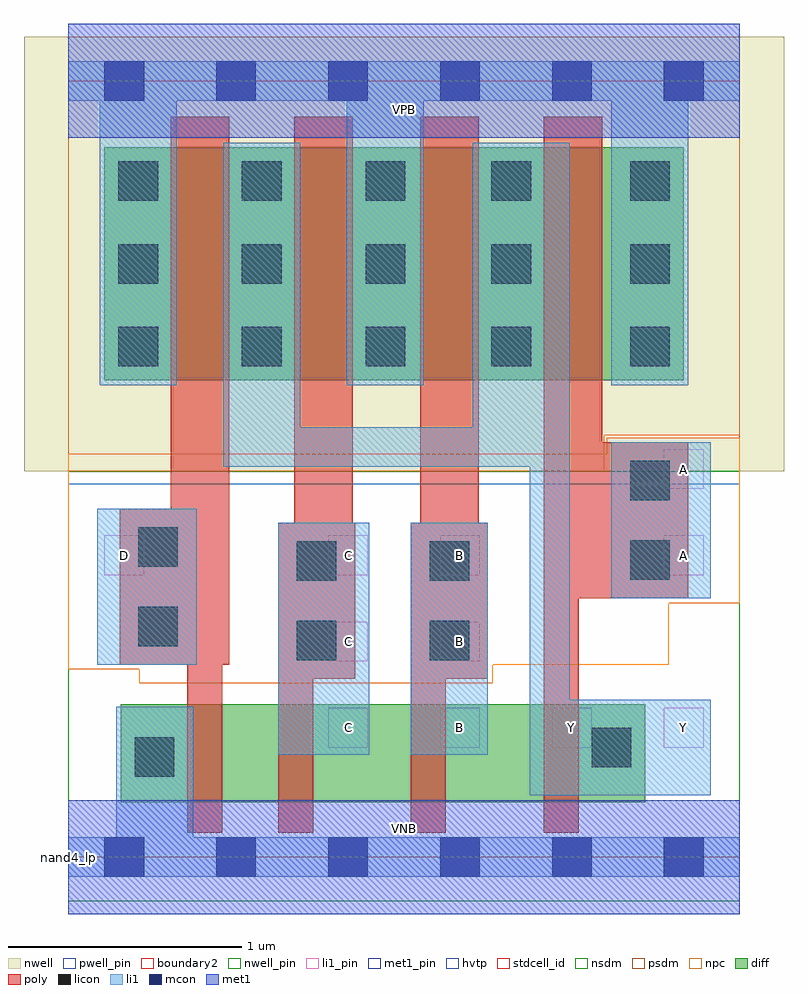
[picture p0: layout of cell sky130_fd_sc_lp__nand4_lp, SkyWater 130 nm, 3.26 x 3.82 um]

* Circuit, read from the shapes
.subckt sky130_fd_sc_lp__nand4_lp A B C D VGND VNB VPB VPWR Y
XM1 n1 D VGND VNB sky130_fd_pr__nfet_01v8 w=0.42 l=0.15
XM2 n2 C n1 VNB sky130_fd_pr__nfet_01v8 w=0.42 l=0.15
XM3 n3 B n2 VNB sky130_fd_pr__nfet_01v8 w=0.42 l=0.15
XM4 Y A n3 VNB sky130_fd_pr__nfet_01v8 w=0.42 l=0.15
XM5 Y D VPWR VPB sky130_fd_pr__pfet_01v8_hvt w=1 l=0.25
XM6 VPWR C Y VPB sky130_fd_pr__pfet_01v8_hvt w=1 l=0.25
XM7 Y B VPWR VPB sky130_fd_pr__pfet_01v8_hvt w=1 l=0.25
XM8 VPWR A Y VPB sky130_fd_pr__pfet_01v8_hvt w=1 l=0.25
.ends

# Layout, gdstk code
import gdstk
lib = gdstk.Library(unit=1e-6, precision=1e-09)
def R(c, l, rs):  # rectangles x0, y0, x1, y1
    for r in rs: c.add(gdstk.rectangle(r[:2], r[2:], *l))
def A(c, l, x, y, w, h, nx, ny, dx, dy):  # array of equal rectangles
    R(c, l, [(x+i*dx, y+j*dy, x+i*dx+w, y+j*dy+h) for i in range(nx) for j in range(ny)])
def P(c, l, *ps):  # polygons
    for p in ps: c.add(gdstk.Polygon(p, *l))
nwell_pin = (64, 16)
nwell = (64, 20)
diff = (65, 20)
poly = (66, 20)
licon = (66, 44)
li1_pin = (67, 16)
li1 = (67, 20)
mcon = (67, 44)
met1_pin = (68, 16)
met1 = (68, 20)
hvtp = (78, 44)
stdcell_id = (81, 4)
nsdm = (93, 44)
psdm = (94, 20)
npc = (95, 20)
pwell_pin = (122, 16)
boundary2 = (236, 0)

sky130_fd_sc_lp__nand4_l = lib.new_cell('sky130_fd_sc_lp__nand4_lp')
R(sky130_fd_sc_lp__nand4_l, nwell_pin, [(0,3.085,2.88,3.33)])
R(sky130_fd_sc_lp__nand4_l, nwell, [(-0.19,1.655,3.07,3.52)])
R(sky130_fd_sc_lp__nand4_l, diff, [(0.225,0.235,2.475,0.655), (0.155,2.045,2.64,3.045)])
P(sky130_fd_sc_lp__nand4_l, poly, [(0.69,3.175),(0.44,3.175),(0.44,1.495),(0.22,1.495),(0.22,0.825),(0.51,0.825),(0.51,0.105),(0.66,0.105),(0.66,0.825),(0.69,0.825)],
  [(1.23,1.435),(1.22,1.435),(1.22,3.175),(0.97,3.175),(0.97,1.435),(0.9,1.435),(0.9,0.105),(1.05,0.105),(1.05,0.765),(1.23,0.765)],
  [(1.8,1.435),(1.76,1.435),(1.76,3.175),(1.51,3.175),(1.51,1.435),(1.47,1.435),(1.47,0.105),(1.62,0.105),(1.62,0.765),(1.8,0.765)],
  [(2.66,1.78),(2.29,1.78),(2.29,3.175),(2.04,3.175),(2.04,0.105),(2.19,0.105),(2.19,1.11),(2.66,1.11)])
A(sky130_fd_sc_lp__nand4_l, licon, 0.215, 2.105, 0.17, 0.17, 3, 3, 0.53, 0.355)
A(sky130_fd_sc_lp__nand4_l, licon, 1.815, 2.105, 0.17, 0.17, 1, 3, 0, 0.355)
A(sky130_fd_sc_lp__nand4_l, licon, 2.41, 2.105, 0.17, 0.17, 1, 3, 0, 0.355)
R(sky130_fd_sc_lp__nand4_l, licon, [(0.285,0.345,0.455,0.515), (2.245,0.385,2.415,0.555), (0.98,0.845,1.15,1.015), (1.55,0.845,1.72,1.015), (0.3,0.905,0.47,1.075), (0.98,1.185,1.15,1.355), (1.55,1.185,1.72,1.355), (2.41,1.19,2.58,1.36), (0.3,1.245,0.47,1.415), (2.41,1.53,2.58,1.7)])
A(sky130_fd_sc_lp__nand4_l, li1_pin, 1.115, 0.47, 0.17, 0.17, 4, 1, 0.48, 0)
R(sky130_fd_sc_lp__nand4_l, li1_pin, [(1.115,0.84,1.285,1.01), (1.595,0.84,1.765,1.01), (0.155,1.21,0.325,1.38), (1.115,1.21,1.285,1.38), (1.595,1.21,1.765,1.38), (2.555,1.21,2.725,1.38), (2.555,1.58,2.725,1.75)])
R(sky130_fd_sc_lp__nand4_l, li1, [(0.9,0.44,1.29,1.435), (1.47,0.44,1.8,1.435), (0.125,0.825,0.55,1.495), (2.33,1.11,2.755,1.78)])
P(sky130_fd_sc_lp__nand4_l, li1, [(1.195,2.025),(1.195,3.245),(0.465,3.245),(0.465,2.025),(0.135,2.025),(0.135,3.245),(0,3.245),(0,3.415),(2.88,3.415),(2.88,3.245),(2.66,3.245),(2.66,2.025),(2.33,2.025),(2.33,3.245),(1.525,3.245),(1.525,2.025)],
  [(0.205,0.085),(0.205,0.645),(0.535,0.645),(0.535,0.085),(2.88,0.085),(2.88,-0.085),(0,-0.085),(0,0.085)],
  [(1.98,0.265),(1.98,1.675),(0.665,1.675),(0.665,3.065),(0.995,3.065),(0.995,1.845),(1.735,1.845),(1.735,3.065),(2.15,3.065),(2.15,0.675),(2.755,0.675),(2.755,0.265)])
A(sky130_fd_sc_lp__nand4_l, mcon, 0.155, -0.085, 0.17, 0.17, 6, 2, 0.48, 3.33)
R(sky130_fd_sc_lp__nand4_l, met1_pin, [(0,0,2.88,0.245), (0,3.085,2.88,3.33)])
R(sky130_fd_sc_lp__nand4_l, met1, [(0,-0.245,2.88,0.245), (0,3.085,2.88,3.575)])
R(sky130_fd_sc_lp__nand4_l, hvtp, [(0,1.6,2.88,3.33)])
R(sky130_fd_sc_lp__nand4_l, stdcell_id, [(0,0,2.88,3.33)])
R(sky130_fd_sc_lp__nand4_l, nsdm, [(0,-0.19,2.88,1.655)])
P(sky130_fd_sc_lp__nand4_l, psdm, [(2.88,3.52),(0,3.52),(0,1.655),(2.3,1.655),(2.3,1.81),(2.88,1.81)])
P(sky130_fd_sc_lp__nand4_l, npc, [(2.88,1.8),(2.31,1.8),(2.31,1.73),(0,1.73),(0,0.805),(0.305,0.805),(0.305,0.745),(1.82,0.745),(1.82,0.825),(2.575,0.825),(2.575,1.09),(2.88,1.09)])
R(sky130_fd_sc_lp__nand4_l, pwell_pin, [(0,0,2.88,0.245)])
R(sky130_fd_sc_lp__nand4_l, boundary2, [(0,0,2.88,3.33)])
sky130_fd_sc_lp__nand4_l.add(gdstk.Label('VNB', (1.44,0.123), layer=64, texttype=59))
sky130_fd_sc_lp__nand4_l.add(gdstk.Label('VPB', (1.44,3.208), layer=64, texttype=5))
sky130_fd_sc_lp__nand4_l.add(gdstk.Label('nand4_lp', (0,0), layer=83, texttype=44))
sky130_fd_sc_lp__nand4_l.add(gdstk.Label('VPWR', (1.44,3.208), layer=68, texttype=5))
sky130_fd_sc_lp__nand4_l.add(gdstk.Label('VGND', (1.44,0.123), layer=68, texttype=5))
sky130_fd_sc_lp__nand4_l.add(gdstk.Label('C', (1.2,0.555), layer=67, texttype=5))
sky130_fd_sc_lp__nand4_l.add(gdstk.Label('C', (1.2,0.925), layer=67, texttype=5))
sky130_fd_sc_lp__nand4_l.add(gdstk.Label('C', (1.2,1.295), layer=67, texttype=5))
sky130_fd_sc_lp__nand4_l.add(gdstk.Label('B', (1.68,0.555), layer=67, texttype=5))
sky130_fd_sc_lp__nand4_l.add(gdstk.Label('B', (1.68,0.925), layer=67, texttype=5))
sky130_fd_sc_lp__nand4_l.add(gdstk.Label('B', (1.68,1.295), layer=67, texttype=5))
sky130_fd_sc_lp__nand4_l.add(gdstk.Label('D', (0.24,1.295), layer=67, texttype=5))
sky130_fd_sc_lp__nand4_l.add(gdstk.Label('A', (2.64,1.295), layer=67, texttype=5))
sky130_fd_sc_lp__nand4_l.add(gdstk.Label('A', (2.64,1.665), layer=67, texttype=5))
sky130_fd_sc_lp__nand4_l.add(gdstk.Label('Y', (2.16,0.555), layer=67, texttype=5))
sky130_fd_sc_lp__nand4_l.add(gdstk.Label('Y', (2.64,0.555), layer=67, texttype=5))

lib.write_gds('sky130_fd_sc_lp__nand4_lp.gds')
